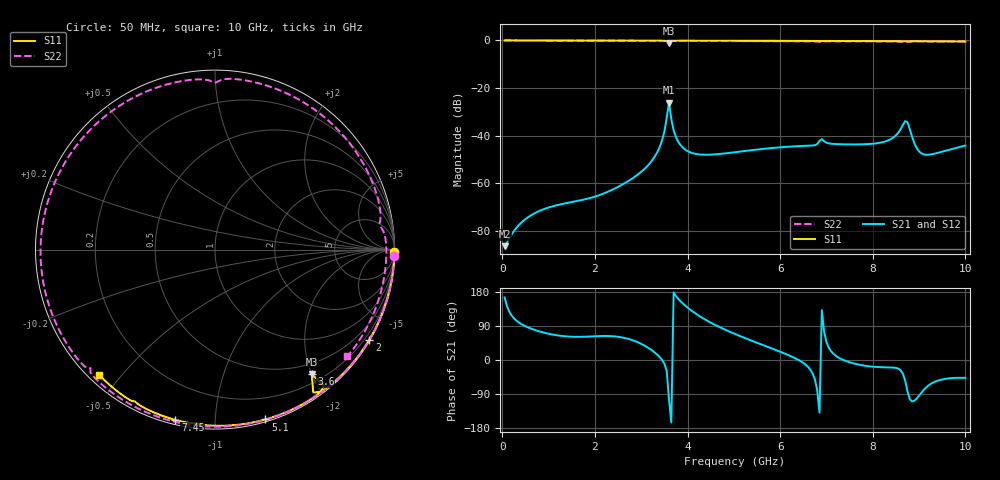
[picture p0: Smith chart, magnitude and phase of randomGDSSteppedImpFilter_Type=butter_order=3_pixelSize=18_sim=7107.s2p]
! freq	dB(S11)	phase(S11)	dB(S12)	phase(S12)
!  dB(S21)	phase(S21)	dB(S22)	phase(S22)
!S-par simulation data
#  GHz  S  DB  R 50
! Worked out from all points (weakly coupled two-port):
!   200 points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, 50 MHz to 10 GHz, reference 50 ohm
!   highest |S21| = -26.13 dB at 3.6 GHz (marker M1); lowest = -86.5 dB at 50 MHz (marker M2)
!   lowest |S11| = -1.1 dB at 3.6 GHz (marker M3), VSWR 15.33, Z = 16.6 - j99.9 ohm
!   |S11| at or under -10 dB: nowhere
!   |S22| runs from -0.7 to 0.0 dB; largest |S21 - S12| = 0
!   S11 on the Smith chart (normalised r, x): 50 MHz: open; 2 GHz: 0.03, -3.70; 3.6 GHz: 0.33, -2.00; 5.1 GHz: 0.02, -1.34; 7.45 GHz: 0.02, -0.79; 10 GHz: 0.03, -0.44
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0.05  -0.00 -0.8  -86.54 165.1  -86.54 165.1  -0.00 -2.0
0.25  -0.00 -3.8  -80.21 110.4  -80.21 110.4  -0.00 -10.0
0.85  -0.01 -13.0  -71.32 73.8  -71.32 73.8  -0.04 -33.6
1.75  -0.03 -26.6  -67.00 61.3  -67.00 61.3  -0.09 -68.2
2  -0.04 -30.3  -65.69 62.7  -65.69 62.7  -0.10 -77.6
2.95  -0.06 -44.3  -56.05 45.6  -56.05 45.6  -0.14 -112.8
3.4  -0.08 -51.3  -44.78 7.5  -44.78 7.5  -0.17 -129.5
3.5  -0.13 -53.5  -38.41 -9.7  -38.41 -9.7  -0.18 -133.3
3.6  -1.14 -52.2  -26.13 -103.9  -26.13 -103.9  -0.38 -136.5
3.75  -0.10 -54.2  -40.69 168.6  -40.69 168.6  -0.19 -142.0
3.95  -0.09 -57.6  -45.91 143.6  -45.91 143.6  -0.20 -149.5
5.05  -0.11 -72.9  -46.96 67.4  -46.96 67.4  -0.27 168.0
5.1  -0.11 -73.5  -46.84 64.9  -46.84 64.9  -0.27 166.0
5.85  -0.14 -83.3  -45.21 29.1  -45.21 29.1  -0.32 134.9
6.7  -0.18 -94.1  -44.19 -35.2  -44.19 -35.2  -0.40 96.9
6.9  -0.24 -96.4  -41.50 131.4  -41.50 131.4  -0.60 89.5
7.45  -0.23 -103.1  -43.72 -4.0  -43.72 -4.0  -0.38 63.4
8.35  -0.30 -113.9  -41.88 -19.4  -41.88 -19.4  -0.41 23.3
8.7  -0.39 -117.8  -33.92 -54.9  -33.92 -54.9  -0.65 8.9
8.95  -0.33 -120.6  -45.33 -101.6  -45.33 -101.6  -0.40 -0.4
9.1  -0.35 -122.4  -47.95 -78.9  -47.95 -78.9  -0.40 -6.5
10  -0.44 -132.9  -44.22 -47.2  -44.22 -47.2  -0.47 -38.9
